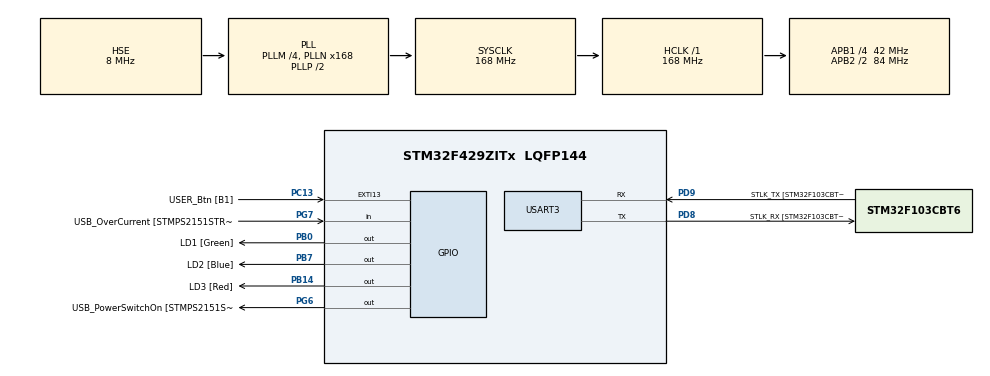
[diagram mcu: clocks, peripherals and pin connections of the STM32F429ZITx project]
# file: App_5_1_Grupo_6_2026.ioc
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Mcu.Family=STM32F4
Mcu.Name=STM32F429ZITx
Mcu.Package=LQFP144
NVIC.PriorityGroup=NVIC_PRIORITYGROUP_4
PA1.GPIO_Label=RMII_REF_CLK [LAN8742A-CZ-TR_REFCLK0]
PA1.Signal=ETH_REF_CLK
PA10.GPIO_Label=USB_ID
PA10.Signal=USB_OTG_FS_ID
PA11.GPIO_Label=USB_DM
PA11.Signal=USB_OTG_FS_DM
PA12.GPIO_Label=USB_DP
PA12.Signal=USB_OTG_FS_DP
PA13.GPIO_Label=TMS
PA13.Mode=Serial_Wire
PA13.Signal=SYS_JTMS-SWDIO
PA14.GPIO_Label=TCK
PA14.Mode=Serial_Wire
PA14.Signal=SYS_JTCK-SWCLK
PA2.GPIO_Label=RMII_MDIO [LAN8742A-CZ-TR_MDIO]
PA2.Signal=ETH_MDIO
PA7.GPIO_Label=RMII_CRS_DV [LAN8742A-CZ-TR_CRS_DV]
PA7.Signal=ETH_CRS_DV
PA8.GPIO_Label=USB_SOF [TP1]
PA8.Signal=USB_OTG_FS_SOF
PA9.GPIO_Label=USB_VBUS
PA9.Signal=USB_OTG_FS_VBUS
PB0.GPIO_Label=LD1 [Green]
PB0.Signal=GPIO_Output
PB13.GPIO_Label=RMII_TXD1 [LAN8742A-CZ-TR_TXD1]
PB13.Signal=ETH_TXD1
PB14.GPIO_Label=LD3 [Red]
PB14.Signal=GPIO_Output
PB7.GPIO_Label=LD2 [Blue]
PB7.Signal=GPIO_Output
PC1.GPIO_Label=RMII_MDC [LAN8742A-CZ-TR_MDC]
PC1.Signal=ETH_MDC
PC13.GPIO_Label=USER_Btn [B1]
PC13.Signal=GPXTI13
PC14/OSC32_IN.Mode=LSE-External-Oscillator
PC14/OSC32_IN.Signal=RCC_OSC32_IN
PC15/OSC32_OUT.Mode=LSE-External-Oscillator
PC15/OSC32_OUT.Signal=RCC_OSC32_OUT
PC4.GPIO_Label=RMII_RXD0 [LAN8742A-CZ-TR_RXD0]
PC4.Signal=ETH_RXD0
PC5.GPIO_Label=RMII_RXD1 [LAN8742A-CZ-TR_RXD1]
PC5.Signal=ETH_RXD1
PD8.GPIO_Label=STLK_RX [STM32F103CBT6_PA3]
PD8.Mode=Asynchronous
PD8.Signal=USART3_TX
PD9.GPIO_Label=STLK_TX [STM32F103CBT6_PA2]
PD9.Mode=Asynchronous
PD9.Signal=USART3_RX
PG11.GPIO_Label=RMII_TX_EN [LAN8742A-CZ-TR_TXEN]
PG11.Signal=ETH_TX_EN
PG13.GPIO_Label=RMII_TXD0 [LAN8742A-CZ-TR_TXD0]
PG13.Signal=ETH_TXD0
PG6.GPIO_Label=USB_PowerSwitchOn [STMPS2151STR_EN]
PG6.Signal=GPIO_Output
PG7.GPIO_Label=USB_OverCurrent [STMPS2151STR_FAULT]
PG7.Signal=GPIO_Input
PH0/OSC_IN.GPIO_Label=MCO [STM32F103CBT6_PA8]
PH0/OSC_IN.Mode=HSE-External-Clock-Source
PH0/OSC_IN.Signal=RCC_OSC_IN
PH1/OSC_OUT.Mode=HSE-External-Clock-Source
PH1/OSC_OUT.Signal=RCC_OSC_OUT
ProjectManager.HeapSize=0x200
ProjectManager.StackSize=0x400
ProjectManager.TargetToolchain=STM32CubeIDE
RCC.48MHZClocksFreq_Value=48000000
RCC.AHBFreq_Value=168000000
RCC.APB1CLKDivider=RCC_HCLK_DIV4
RCC.APB1Freq_Value=42000000
RCC.APB1TimFreq_Value=84000000
RCC.APB2CLKDivider=RCC_HCLK_DIV2
RCC.APB2Freq_Value=84000000
RCC.APB2TimCLKDivider=2
RCC.APB2TimFreq_Value=168000000
RCC.CortexFreq_Value=168000000
RCC.HCLKFreq_Value=168000000
RCC.HSE_VALUE=8000000
RCC.HSI_VALUE=16000000
RCC.PLLM=4
RCC.PLLMUL=RCC_PLL_MUL9
RCC.PLLN=168
RCC.PLLQ=7
RCC.PLLSourceVirtual=RCC_PLLSOURCE_HSE
RCC.PRESCALERUSB=RCC_USBCLKSOURCE_PLL_DIV1_5
RCC.SYSCLKFreq_VALUE=168000000
RCC.SYSCLKSource=RCC_SYSCLKSOURCE_PLLCLK
RCC.SYSCLKSourceVirtual=RCC_SYSCLKSOURCE_PLLCLK
RCC.USBFreq_Value=48000000
RCC.VCOOutputFreq_Value=336000000
USART3.VirtualMode=VM_ASYNC
board=NUCLEO-F429ZI

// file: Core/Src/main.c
/* USER CODE BEGIN Header */
/*
 * AFP 5 - Tecnicas Digitales II - Grupo 6 - 2026
 * App 1.1 con drivers API_GPIO, API_delay y API_debounce - Placa: NUCLEO-F429ZI
 *
 * App 1.1: Desarrolle una aplicacion que encienda y apague de manera secuencial
 * los tres leds onboard de la placa de desarrollo. La secuencia debe encender 200 ms y
 * apagar 200 ms cada led comenzando por el LED1 (Green), continuando con el LED2 (Blue) y
 * luego el LED3 (Red) para volver a iniciar con el LED1. La aplicacion debe ser de caracter
 * general, de manera que pueda extenderse a una cantidad mayor de leds con minimas modificaciones,
 * por este motivo se sugiere que use un vector para el manejo de los Leds.
 * En esta version, ademas, el pulsador pausa y reanuda la secuencia.
 */
/* USER CODE END Header */
#include "main.h"

/* USER CODE BEGIN Includes */
#include "API_GPIO.h"
#include "API_delay.h"
#include "API_debounce.h"
/* USER CODE END Includes */

/* USER CODE BEGIN PD */
#define LED1 GPIO_PIN_0    // verde
#define LED2 GPIO_PIN_7    // azul
#define LED3 GPIO_PIN_14   // rojo
#define CANT_LEDS 3        // cuantos leds hay en el vector LEDS
#define T_ON  200          // tiempo encendido de cada led, en ms
#define T_OFF 200          // tiempo apagado de cada led, en ms
/* USER CODE END PD */

UART_HandleTypeDef huart3;

void SystemClock_Config(void);
static void MX_USART3_UART_Init(void);

int main(void)
{

  /* MCU Configuration--------------------------------------------------------*/

  /* Reset of all peripherals, Initializes the Flash interface and the Systick. */
  HAL_Init();

  /* Configure the system clock */
  SystemClock_Config();

  /* Initialize all configured peripherals */
  MX_GPIO_Init();
  MX_USART3_UART_Init();
  /* USER CODE BEGIN 2 */
  led_t LEDS[CANT_LEDS] = {LED1, LED2, LED3};         // vector con los leds en orden
  int8_t indiceLed = 0;                                // arranco por el primero (verde)
  bool_t ledEncendido = true;                          // arranco con el led prendido
  bool_t pausado = false;                              // la secuencia arranca andando

  delay_t delayLeds;
  delayInit(&delayLeds, T_ON);                         // arranca con el tiempo de encendido

  debounceFSM_init();                                  // MEF del boton (apaga los leds)
  writeLedOn_GPIO(LEDS[indiceLed]);                    // DESPUES prendo el primero
  /* USER CODE END 2 */

  /* Infinite loop */
  while (1)
  {

    /* USER CODE BEGIN 3 */
	  debounceFSM_update(readButton_GPIO());      // la MEF del boton, en cada vuelta

	  if (readKey())                              // hubo una pulsacion nueva?
	  {
		  pausado = !pausado;                     // pausa <-> sigue
	  }

	  if (!pausado && delayRead(&delayLeds))      // si no esta pausado y pasaron 200 ms
	  {
		  if (ledEncendido)                       // estaba prendido -> lo apago
		  {
			  writeLedOff_GPIO(LEDS[indiceLed]);
			  ledEncendido = false;
			  delayWrite(&delayLeds, T_OFF);
		  }
		  else                                    // estaba apagado -> paso al siguiente
		  {
			  indiceLed++;
			  if (indiceLed >= CANT_LEDS)
			  {
				  indiceLed = 0;
			  }
			  writeLedOn_GPIO(LEDS[indiceLed]);
			  ledEncendido = true;
			  delayWrite(&delayLeds, T_ON);
		  }
	  }
  }
  /* USER CODE END 3 */
}

void SystemClock_Config(void)
{
  RCC_OscInitTypeDef RCC_OscInitStruct = {0};
  RCC_ClkInitTypeDef RCC_ClkInitStruct = {0};

  /** Configure the main internal regulator output voltage
  */
  __HAL_RCC_PWR_CLK_ENABLE();
  __HAL_PWR_VOLTAGESCALING_CONFIG(PWR_REGULATOR_VOLTAGE_SCALE1);

  /** Initializes the RCC Oscillators according to the specified parameters
  * in the RCC_OscInitTypeDef structure.
  */
  RCC_OscInitStruct.OscillatorType = RCC_OSCILLATORTYPE_HSE;
  RCC_OscInitStruct.HSEState = RCC_HSE_BYPASS;
  RCC_OscInitStruct.PLL.PLLState = RCC_PLL_ON;
  RCC_OscInitStruct.PLL.PLLSource = RCC_PLLSOURCE_HSE;
  RCC_OscInitStruct.PLL.PLLM = 4;
  RCC_OscInitStruct.PLL.PLLN = 168;
  RCC_OscInitStruct.PLL.PLLP = RCC_PLLP_DIV2;
  RCC_OscInitStruct.PLL.PLLQ = 7;
  if (HAL_RCC_OscConfig(&RCC_OscInitStruct) != HAL_OK)
  {
    Error_Handler();
  }

  /** Initializes the CPU, AHB and APB buses clocks
  */
  RCC_ClkInitStruct.ClockType = RCC_CLOCKTYPE_HCLK|RCC_CLOCKTYPE_SYSCLK
                              |RCC_CLOCKTYPE_PCLK1|RCC_CLOCKTYPE_PCLK2;
  RCC_ClkInitStruct.SYSCLKSource = RCC_SYSCLKSOURCE_PLLCLK;
  RCC_ClkInitStruct.AHBCLKDivider = RCC_SYSCLK_DIV1;
  RCC_ClkInitStruct.APB1CLKDivider = RCC_HCLK_DIV4;
  RCC_ClkInitStruct.APB2CLKDivider = RCC_HCLK_DIV2;

  if (HAL_RCC_ClockConfig(&RCC_ClkInitStruct, FLASH_LATENCY_5) != HAL_OK)
  {
    Error_Handler();
  }
}

static void MX_USART3_UART_Init(void)
{

  huart3.Instance = USART3;
  huart3.Init.BaudRate = 115200;
  huart3.Init.WordLength = UART_WORDLENGTH_8B;
  huart3.Init.StopBits = UART_STOPBITS_1;
  huart3.Init.Parity = UART_PARITY_NONE;
  huart3.Init.Mode = UART_MODE_TX_RX;
  huart3.Init.HwFlowCtl = UART_HWCONTROL_NONE;
  huart3.Init.OverSampling = UART_OVERSAMPLING_16;
  if (HAL_UART_Init(&huart3) != HAL_OK)
  {
    Error_Handler();
  }

}

void Error_Handler(void)
{
  __disable_irq();
  while (1)
  {
  }
}
